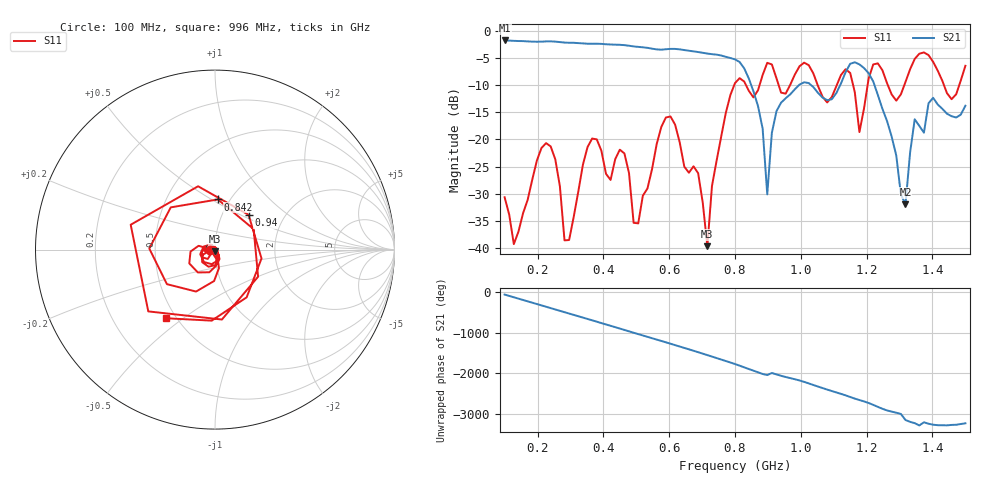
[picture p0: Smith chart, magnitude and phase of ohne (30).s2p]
! NanoVNA-App
! Date: 2025-09-26 09:55:38
! Start: 100MHz Stop: 1,5GHz Points: 101
! S-Parameter data: F S11 S21 S12 S22
# Hz S RI R 50
!  Frequency  S11_Real  S11_Imag  S21_Real  S21_Imag  S12_Real  S12_Imag  S22_Real  S22_Imag
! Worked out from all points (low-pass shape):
!   101 points, 100 MHz to 1.5 GHz, reference 50 ohm
!   highest |S21| = -1.79 dB at 100 MHz (marker M1); lowest = -31.9 dB at 1.318 GHz (marker M2)
!   |S21| within 3 dB of the highest: start of sweep to 771.4 MHz
!   lowest |S11| = -39.6 dB at 716 MHz (marker M3), VSWR 1.02, Z = 49.8 - j1.01 ohm
!   |S11| at or under -10 dB: start of sweep to 797.6 MHz; 833.3 MHz to 874.7 MHz (41.39 MHz wide, 4.85 % of centre); 1.051 GHz to 1.109 GHz (58.07 MHz wide, 5.38 % of centre) (the widest 3 of 7)
!   S12 and S22 are empty: the file has one direction only
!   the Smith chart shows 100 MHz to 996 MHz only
!   S11 on the Smith chart (normalised r, x): 100 MHz: 0.94, -0.01; 842 MHz: 0.88, +0.53; 940 MHz: 1.33, +0.56; 996 MHz: 0.44, -0.43
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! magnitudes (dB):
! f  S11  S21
! 100 MHz  -30.6  -1.8
! 128 MHz  -39.3  -1.9
! 226 MHz  -20.7  -2.0
! 296 MHz  -38.5  -2.2
! 338 MHz  -24.6  -2.3
! 464 MHz  -22.6  -2.7
! 506 MHz  -35.4  -3.0
! 576 MHz  -17.7  -3.5
! 688 MHz  -26.2  -3.9
! 716 MHz  -39.6  -4.2
! 800 MHz  -9.6  -5.3
! 842 MHz  -11.1  -8.8
! 898 MHz  -5.9  -30.1
! 940 MHz  -11.4  -13.2
! 996 MHz  -6.5  -9.9
! 1.038 GHz  -7.9  -10.4
! 1.178 GHz  -18.7  -6.2
! 1.22 GHz  -6.2  -9.3
! 1.276 GHz  -11.7  -19.5
! 1.318 GHz  -9.4  -31.9
! 1.346 GHz  -5.2  -16.3
! 1.5 GHz  -6.5  -13.8
